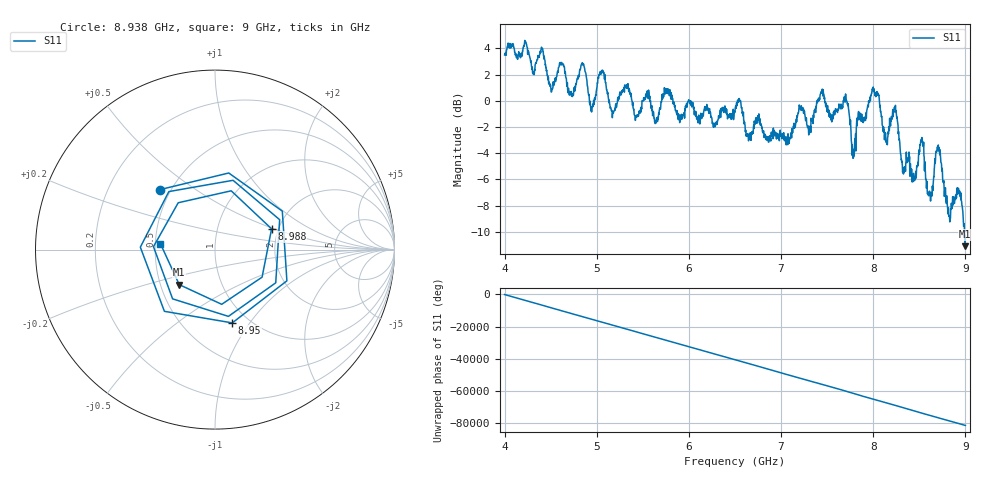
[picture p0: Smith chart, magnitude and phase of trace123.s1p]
! Created with skrf 1.8.0 (http://scikit-rf.org).
# Hz S RI R 50.0
!freq ReS11 ImS11
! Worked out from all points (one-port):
!   1601 points, 4 GHz to 9 GHz, reference 50 ohm
!   lowest |S11| = -11.1 dB at 8.997 GHz (marker M1), VSWR 1.77, Z = 31.2 - j13.2 ohm
!   |S11| at or under -10 dB: 8.989811 GHz to end of sweep
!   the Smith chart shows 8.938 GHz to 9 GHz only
!   S11 on the Smith chart (normalised r, x): 8.938 GHz: 0.44, +0.37; 8.95 GHz: 0.84, -0.83; 8.988 GHz: 1.84, +0.48; 9 GHz: 0.53, +0.04
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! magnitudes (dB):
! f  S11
! 4 GHz  3.5
! 4.406 GHz  4.0
! 4.509 GHz  0.7
! 4.625 GHz  2.8
! 4.722 GHz  0.7
! 4.853 GHz  2.8
! 4.944 GHz  -0.9
! 5.05 GHz  2.2
! 5.169 GHz  -1.3
! 5.25 GHz  0.5
! 5.875 GHz  -1.0
! 6.5 GHz  -0.8
! 7.125 GHz  -2.4
! 7.447 GHz  0.9
! 7.75 GHz  -1.8
! 7.788 GHz  -4.3
! 8.016 GHz  0.6
! 8.375 GHz  -4.4
! 8.444 GHz  -5.8
! 8.525 GHz  -2.9
! 8.612 GHz  -6.9
! 8.703 GHz  -3.6
! 8.812 GHz  -8.6
! 8.938 GHz  -6.9
! 8.95 GHz  -7.5
! 8.988 GHz  -9.5
! 8.997 GHz  -11.1
! 9 GHz  -10.3
